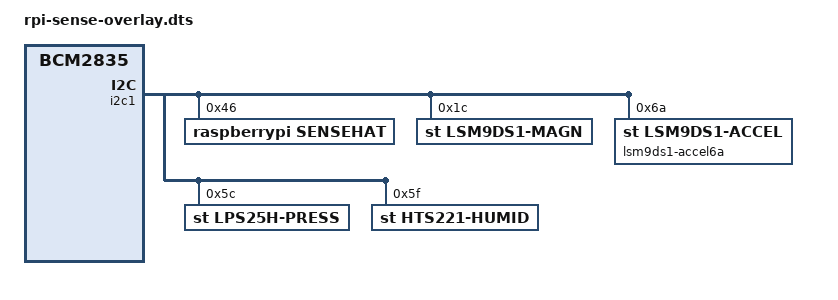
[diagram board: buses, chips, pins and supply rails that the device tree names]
// rpi-sense HAT
/dts-v1/;
/plugin/;

/ {
	compatible = "brcm,bcm2835";

	fragment@0 {
		target = <&i2c1>;
		__overlay__ {
			#address-cells = <1>;
			#size-cells = <0>;
			status = "okay";

			sensehat@46 {
				compatible = "raspberrypi,sensehat";
				reg = <0x46>;
				interrupt-parent = <&gpio>;
				status = "okay";

				display {
					compatible = "raspberrypi,rpi-sense-fb";
					status = "okay";
				};
				joystick {
					compatible = "raspberrypi,sensehat-joystick";
					interrupts = <23 1>;
					pinctrl-names = "default";
					pinctrl-0 = <&sensehat_pins>;
					status = "okay";
				};
			};

			lsm9ds1-magn@1c {
				compatible = "st,lsm9ds1-magn";
				reg = <0x1c>;
				status = "okay";
			};

			lsm9ds1-accel6a {
				compatible = "st,lsm9ds1-accel";
				reg = <0x6a>;
				status = "okay";
			};

			lps25h-press@5c {
				compatible = "st,lps25h-press";
				reg = <0x5c>;
				status = "okay";
			};

			hts221-humid@5f {
				compatible = "st,hts221-humid", "st,hts221";
				reg = <0x5f>;
				status = "okay";
			};
		};
	};

	fragment@1 {
		target = <&gpio>;
		__overlay__ {
			sensehat_pins: sensehat_pins {
				brcm,pins = <23>;
				brcm,function = <0>;
			};
		};
	};
};
